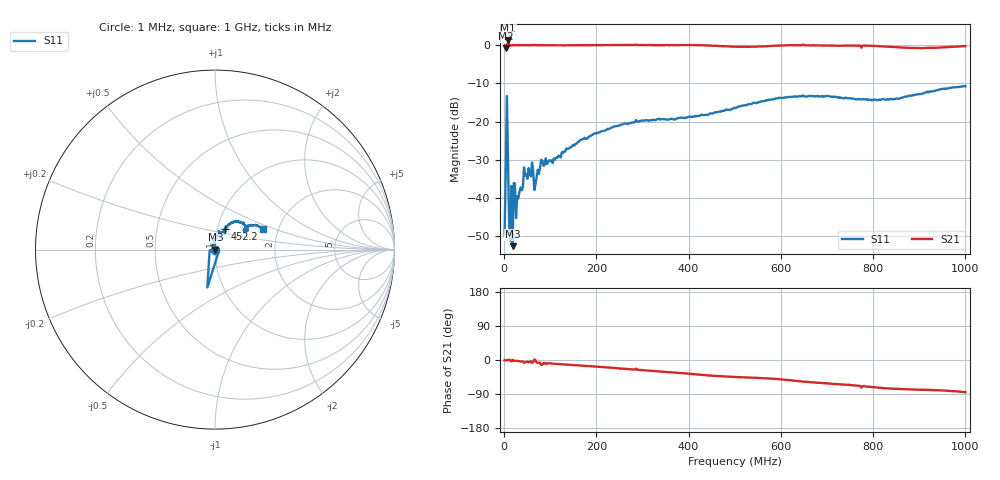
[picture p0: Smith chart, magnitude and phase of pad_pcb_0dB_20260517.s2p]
# HZ S RI R 50
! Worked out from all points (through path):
!   404 points, 1 MHz to 1 GHz, reference 50 ohm
!   highest |S21| = 1.22 dB at 8.437 MHz (marker M1); lowest = -0.8 dB at 3.479 MHz (marker M2)
!   group delay of S21, straight-line fit = 240 ps
!   lowest |S11| = -52.6 dB at 18.35 MHz (marker M3), VSWR 1.00, Z = 50.2 - j0.0568 ohm
!   |S11| at or under -10 dB: start of sweep to end of sweep
!   S12 and S22 are empty: the file has one direction only
!   S11 on the Smith chart (normalised r, x): 1 MHz: 1.00, -0.00; 452.2 MHz: 1.09, +0.25; 1 GHz: 1.66, +0.41
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1000000  -0.00231 -0.00239  0.9881 -0.0148  0 0  0 0
3478908  0.0207 -0.0109  0.9101 -0.0161  0 0  0 0
8436724  -0.03 -0.00515  1.151 -0.00533  0 0  0 0
1.091563e7  0.000641 0.00425  1.002 0.0144  0 0  0 0
1.339454e7  0.00195 0.00193  0.9938 -0.0209  0 0  0 0
1.587345e7  0.00471 0.0136  0.9856 -0.0578  0 0  0 0
1.835236e7  0.00226 -0.000565  1.006 0.00884  0 0  0 0
2.331017e7  0.000406 0.0153  0.9976 -0.0357  0 0  0 0
2.578908e7  -0.000847 0.0054  0.9968 -0.0392  0 0  0 0
3.07469e7  -0.00064 0.0098  0.9979 -0.0476  0 0  0 0
4.809925e7  -0.00134 0.0203  0.9971 -0.0755  0 0  0 0
5.801488e7  -0.000789 0.0191  0.9992 -0.0569  0 0  0 0
7.040942e7  -0.00492 0.0182  0.9923 -0.1107  0 0  0 0
8.528287e7  -0.00689 0.0254  0.9893 -0.1355  0 0  0 0
1.695657e8  0.000367 0.0584  0.9633 -0.2575  0 0  0 0
2.588064e8  0.0266 0.0892  0.9254 -0.3911  0 0  0 0
3.356526e8  0.0503 0.0966  0.8643 -0.499  0 0  0 0
4.521613e8  0.0569 0.1136  0.7325 -0.6524  0 0  0 0
5.017394e8  0.0704 0.1332  0.676 -0.6745  0 0  0 0
6.678263e8  0.1707 0.1332  0.5133 -0.8494  0 0  0 0
8.339131e8  0.1606 0.1061  0.2469 -0.9213  0 0  0 0
9.999999e8  0.2661 0.1143  0.084 -0.9642  0 0  0 0
